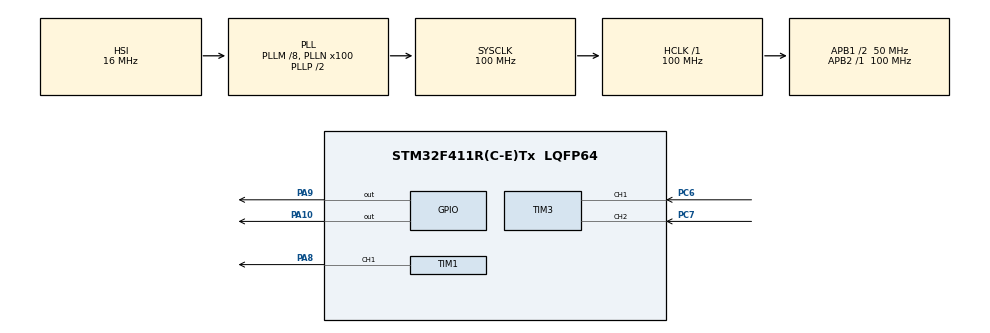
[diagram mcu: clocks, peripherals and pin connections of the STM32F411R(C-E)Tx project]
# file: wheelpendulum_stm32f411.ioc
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Mcu.Family=STM32F4
Mcu.Name=STM32F411R(C-E)Tx
Mcu.Package=LQFP64
NVIC.PriorityGroup=NVIC_PRIORITYGROUP_4
NVIC.TIM2_IRQn=true\:0\:0\:false\:false\:true\:true\:true
PA10.Signal=GPIO_Output
PA13.Mode=Serial_Wire
PA13.Signal=SYS_JTMS-SWDIO
PA14.Mode=Serial_Wire
PA14.Signal=SYS_JTCK-SWCLK
PA8.GPIO_Speed=GPIO_SPEED_FREQ_VERY_HIGH
PA8.Signal=S_TIM1_CH1
PA9.Signal=GPIO_Output
PC14-OSC32_IN.Mode=LSE-External-Clock-Source
PC14-OSC32_IN.Signal=RCC_OSC32_IN
PC15-OSC32_OUT.Mode=LSE-External-Clock-Source
PC15-OSC32_OUT.Signal=RCC_OSC32_OUT
PC6.GPIO_ModeDefaultPP=GPIO_MODE_AF_OD
PC6.GPIO_PuPd=GPIO_PULLUP
PC6.Signal=S_TIM3_CH1
PC7.GPIO_ModeDefaultPP=GPIO_MODE_AF_OD
PC7.GPIO_PuPd=GPIO_PULLUP
PC7.Signal=S_TIM3_CH2
PH0\ -\ OSC_IN.Mode=HSE-External-Oscillator
PH0\ -\ OSC_IN.Signal=RCC_OSC_IN
PH1\ -\ OSC_OUT.Mode=HSE-External-Oscillator
PH1\ -\ OSC_OUT.Signal=RCC_OSC_OUT
ProjectManager.HeapSize=0x200
ProjectManager.StackSize=0x400
ProjectManager.TargetToolchain=SW4STM32
RCC.48MHZClocksFreq_Value=50000000
RCC.AHBFreq_Value=100000000
RCC.APB1CLKDivider=RCC_HCLK_DIV2
RCC.APB1Freq_Value=50000000
RCC.APB1TimFreq_Value=100000000
RCC.APB2Freq_Value=100000000
RCC.APB2TimFreq_Value=100000000
RCC.CortexFreq_Value=100000000
RCC.HCLKFreq_Value=100000000
RCC.HSE_VALUE=16000000
RCC.HSI_VALUE=16000000
RCC.LSE_VALUE=32768
RCC.PLLM=8
RCC.PLLN=100
RCC.SYSCLKFreq_VALUE=100000000
RCC.SYSCLKSource=RCC_SYSCLKSOURCE_PLLCLK
RCC.VCOOutputFreq_Value=200000000
SH.S_TIM1_CH1.0=TIM1_CH1,PWM Generation1 CH1
SH.S_TIM3_CH1.0=TIM3_CH1,Encoder_Interface
SH.S_TIM3_CH2.0=TIM3_CH2,Encoder_Interface
TIM1.AutoReloadPreload=TIM_AUTORELOAD_PRELOAD_ENABLE
TIM1.Channel-PWM\ Generation1\ CH1=TIM_CHANNEL_1
TIM1.Period=99
TIM1.Prescaler=99
TIM2.AutoReloadPreload=TIM_AUTORELOAD_PRELOAD_ENABLE
TIM2.Period=999
TIM2.Prescaler=99
TIM3.EncoderMode=TIM_ENCODERMODE_TI12
VP_TIM2_VS_ClockSourceINT.Mode=Internal
board=custom

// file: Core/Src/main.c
/* USER CODE BEGIN Header */
/**
  ******************************************************************************
  * @file           : main.c
  * @brief          : Main program body
  ******************************************************************************
  * @attention
  *
  * <h2><center>&copy; Copyright (c) 2021 STMicroelectronics.
  * All rights reserved.</center></h2>
  *
  * This software component is licensed by ST under BSD 3-Clause license,
  * the "License"; You may not use this file except in compliance with the
  * License. You may obtain a copy of the License at:
  *                        opensource.org/licenses/BSD-3-Clause
  *
  ******************************************************************************
  */
/* USER CODE END Header */
#include "main.h"

TIM_HandleTypeDef htim1;
TIM_HandleTypeDef htim2;
TIM_HandleTypeDef htim3;

/* USER CODE BEGIN PV */
volatile short encoder_cnt=0;
uint16_t control_flag=0;
float u=0,e_theta=0,e_theta_k1=0;
float Kp=15,Kd=1;
uint16_t duty_pwm=0;
/* USER CODE END PV */

void SystemClock_Config(void);
static void MX_GPIO_Init(void);
static void MX_TIM1_Init(void);
static void MX_TIM3_Init(void);
static void MX_TIM2_Init(void);

int main(void)
{

  /* MCU Configuration--------------------------------------------------------*/

  /* Reset of all peripherals, Initializes the Flash interface and the Systick. */
  HAL_Init();

  /* Configure the system clock */
  SystemClock_Config();

  /* Initialize all configured peripherals */
  MX_GPIO_Init();
  MX_TIM1_Init();
  MX_TIM3_Init();
  MX_TIM2_Init();
  /* USER CODE BEGIN 2 */
  HAL_TIM_Encoder_Start(&htim3,TIM_CHANNEL_1|TIM_CHANNEL_2);
  HAL_TIM_PWM_Start(&htim1, TIM_CHANNEL_1);
  HAL_TIM_Base_Start_IT(&htim2);
  HAL_GPIO_WritePin(GPIOA,GPIO_PIN_9,1);
  HAL_GPIO_WritePin(GPIOA,GPIO_PIN_10,1);

  /* USER CODE END 2 */

  /* Infinite loop */
  while (1)
  {

    /* USER CODE BEGIN 3 */
  	  encoder_cnt = __HAL_TIM_GET_COUNTER(&htim3);
if((encoder_cnt>1600)&&(encoder_cnt<2400))
	{
	  if(control_flag==1)
	  {  			  control_flag=0;

		  e_theta_k1=e_theta;
		  e_theta= 2044 -encoder_cnt;
		  u = Kp*e_theta + Kd*(e_theta-e_theta_k1)/0.001;
		  if(u>98)
			  u=98;
		  if(u<-98)
			  u=-98;
		  if(u>0)
		  {duty_pwm=u;
		  HAL_GPIO_WritePin(GPIOA,GPIO_PIN_9,1);
		  }
		  else
		  {duty_pwm=-u;
		  HAL_GPIO_WritePin(GPIOA,GPIO_PIN_9,0);
		  }
//		  if(e_theta>0)
//			  HAL_GPIO_WritePin(GPIOA,GPIO_PIN_9,1);
//		  else
//			  HAL_GPIO_WritePin(GPIOA,GPIO_PIN_9,0);
		if(duty_pwm>98)
			  duty_pwm=98;
		if(duty_pwm<0)
			duty_pwm=0;

		  __HAL_TIM_SET_COMPARE(&htim1,TIM_CHANNEL_1,duty_pwm);

	  }
	}
  }
  /* USER CODE END 3 */
}

void SystemClock_Config(void)
{
  RCC_OscInitTypeDef RCC_OscInitStruct = {0};
  RCC_ClkInitTypeDef RCC_ClkInitStruct = {0};

  /** Configure the main internal regulator output voltage
  */
  __HAL_RCC_PWR_CLK_ENABLE();
  __HAL_PWR_VOLTAGESCALING_CONFIG(PWR_REGULATOR_VOLTAGE_SCALE1);
  /** Initializes the RCC Oscillators according to the specified parameters
  * in the RCC_OscInitTypeDef structure.
  */
  RCC_OscInitStruct.OscillatorType = RCC_OSCILLATORTYPE_HSI;
  RCC_OscInitStruct.HSIState = RCC_HSI_ON;
  RCC_OscInitStruct.HSICalibrationValue = RCC_HSICALIBRATION_DEFAULT;
  RCC_OscInitStruct.PLL.PLLState = RCC_PLL_ON;
  RCC_OscInitStruct.PLL.PLLSource = RCC_PLLSOURCE_HSI;
  RCC_OscInitStruct.PLL.PLLM = 8;
  RCC_OscInitStruct.PLL.PLLN = 100;
  RCC_OscInitStruct.PLL.PLLP = RCC_PLLP_DIV2;
  RCC_OscInitStruct.PLL.PLLQ = 4;
  if (HAL_RCC_OscConfig(&RCC_OscInitStruct) != HAL_OK)
  {
    Error_Handler();
  }
  /** Initializes the CPU, AHB and APB buses clocks
  */
  RCC_ClkInitStruct.ClockType = RCC_CLOCKTYPE_HCLK|RCC_CLOCKTYPE_SYSCLK
                              |RCC_CLOCKTYPE_PCLK1|RCC_CLOCKTYPE_PCLK2;
  RCC_ClkInitStruct.SYSCLKSource = RCC_SYSCLKSOURCE_PLLCLK;
  RCC_ClkInitStruct.AHBCLKDivider = RCC_SYSCLK_DIV1;
  RCC_ClkInitStruct.APB1CLKDivider = RCC_HCLK_DIV2;
  RCC_ClkInitStruct.APB2CLKDivider = RCC_HCLK_DIV1;

  if (HAL_RCC_ClockConfig(&RCC_ClkInitStruct, FLASH_LATENCY_3) != HAL_OK)
  {
    Error_Handler();
  }
}

static void MX_TIM1_Init(void)
{

  TIM_MasterConfigTypeDef sMasterConfig = {0};
  TIM_OC_InitTypeDef sConfigOC = {0};
  TIM_BreakDeadTimeConfigTypeDef sBreakDeadTimeConfig = {0};

  htim1.Instance = TIM1;
  htim1.Init.Prescaler = 99;
  htim1.Init.CounterMode = TIM_COUNTERMODE_UP;
  htim1.Init.Period = 99;
  htim1.Init.ClockDivision = TIM_CLOCKDIVISION_DIV1;
  htim1.Init.RepetitionCounter = 0;
  htim1.Init.AutoReloadPreload = TIM_AUTORELOAD_PRELOAD_ENABLE;
  if (HAL_TIM_PWM_Init(&htim1) != HAL_OK)
  {
    Error_Handler();
  }
  sMasterConfig.MasterOutputTrigger = TIM_TRGO_RESET;
  sMasterConfig.MasterSlaveMode = TIM_MASTERSLAVEMODE_DISABLE;
  if (HAL_TIMEx_MasterConfigSynchronization(&htim1, &sMasterConfig) != HAL_OK)
  {
    Error_Handler();
  }
  sConfigOC.OCMode = TIM_OCMODE_PWM1;
  sConfigOC.Pulse = 0;
  sConfigOC.OCPolarity = TIM_OCPOLARITY_HIGH;
  sConfigOC.OCNPolarity = TIM_OCNPOLARITY_HIGH;
  sConfigOC.OCFastMode = TIM_OCFAST_DISABLE;
  sConfigOC.OCIdleState = TIM_OCIDLESTATE_RESET;
  sConfigOC.OCNIdleState = TIM_OCNIDLESTATE_RESET;
  if (HAL_TIM_PWM_ConfigChannel(&htim1, &sConfigOC, TIM_CHANNEL_1) != HAL_OK)
  {
    Error_Handler();
  }
  sBreakDeadTimeConfig.OffStateRunMode = TIM_OSSR_DISABLE;
  sBreakDeadTimeConfig.OffStateIDLEMode = TIM_OSSI_DISABLE;
  sBreakDeadTimeConfig.LockLevel = TIM_LOCKLEVEL_OFF;
  sBreakDeadTimeConfig.DeadTime = 0;
  sBreakDeadTimeConfig.BreakState = TIM_BREAK_DISABLE;
  sBreakDeadTimeConfig.BreakPolarity = TIM_BREAKPOLARITY_HIGH;
  sBreakDeadTimeConfig.AutomaticOutput = TIM_AUTOMATICOUTPUT_DISABLE;
  if (HAL_TIMEx_ConfigBreakDeadTime(&htim1, &sBreakDeadTimeConfig) != HAL_OK)
  {
    Error_Handler();
  }
  HAL_TIM_MspPostInit(&htim1);

}

static void MX_TIM2_Init(void)
{

  TIM_ClockConfigTypeDef sClockSourceConfig = {0};
  TIM_MasterConfigTypeDef sMasterConfig = {0};

  htim2.Instance = TIM2;
  htim2.Init.Prescaler = 99;
  htim2.Init.CounterMode = TIM_COUNTERMODE_UP;
  htim2.Init.Period = 999;
  htim2.Init.ClockDivision = TIM_CLOCKDIVISION_DIV1;
  htim2.Init.AutoReloadPreload = TIM_AUTORELOAD_PRELOAD_ENABLE;
  if (HAL_TIM_Base_Init(&htim2) != HAL_OK)
  {
    Error_Handler();
  }
  sClockSourceConfig.ClockSource = TIM_CLOCKSOURCE_INTERNAL;
  if (HAL_TIM_ConfigClockSource(&htim2, &sClockSourceConfig) != HAL_OK)
  {
    Error_Handler();
  }
  sMasterConfig.MasterOutputTrigger = TIM_TRGO_RESET;
  sMasterConfig.MasterSlaveMode = TIM_MASTERSLAVEMODE_DISABLE;
  if (HAL_TIMEx_MasterConfigSynchronization(&htim2, &sMasterConfig) != HAL_OK)
  {
    Error_Handler();
  }

}

static void MX_TIM3_Init(void)
{

  TIM_Encoder_InitTypeDef sConfig = {0};
  TIM_MasterConfigTypeDef sMasterConfig = {0};

  htim3.Instance = TIM3;
  htim3.Init.Prescaler = 0;
  htim3.Init.CounterMode = TIM_COUNTERMODE_UP;
  htim3.Init.Period = 65535;
  htim3.Init.ClockDivision = TIM_CLOCKDIVISION_DIV1;
  htim3.Init.AutoReloadPreload = TIM_AUTORELOAD_PRELOAD_DISABLE;
  sConfig.EncoderMode = TIM_ENCODERMODE_TI12;
  sConfig.IC1Polarity = TIM_ICPOLARITY_RISING;
  sConfig.IC1Selection = TIM_ICSELECTION_DIRECTTI;
  sConfig.IC1Prescaler = TIM_ICPSC_DIV1;
  sConfig.IC1Filter = 0;
  sConfig.IC2Polarity = TIM_ICPOLARITY_RISING;
  sConfig.IC2Selection = TIM_ICSELECTION_DIRECTTI;
  sConfig.IC2Prescaler = TIM_ICPSC_DIV1;
  sConfig.IC2Filter = 0;
  if (HAL_TIM_Encoder_Init(&htim3, &sConfig) != HAL_OK)
  {
    Error_Handler();
  }
  sMasterConfig.MasterOutputTrigger = TIM_TRGO_RESET;
  sMasterConfig.MasterSlaveMode = TIM_MASTERSLAVEMODE_DISABLE;
  if (HAL_TIMEx_MasterConfigSynchronization(&htim3, &sMasterConfig) != HAL_OK)
  {
    Error_Handler();
  }

}

static void MX_GPIO_Init(void)
{
  GPIO_InitTypeDef GPIO_InitStruct = {0};

  /* GPIO Ports Clock Enable */
  __HAL_RCC_GPIOC_CLK_ENABLE();
  __HAL_RCC_GPIOH_CLK_ENABLE();
  __HAL_RCC_GPIOA_CLK_ENABLE();

  /*Configure GPIO pin Output Level */
  HAL_GPIO_WritePin(GPIOA, GPIO_PIN_9|GPIO_PIN_10, GPIO_PIN_RESET);

  /*Configure GPIO pins : PA9 PA10 */
  GPIO_InitStruct.Pin = GPIO_PIN_9|GPIO_PIN_10;
  GPIO_InitStruct.Mode = GPIO_MODE_OUTPUT_PP;
  GPIO_InitStruct.Pull = GPIO_NOPULL;
  GPIO_InitStruct.Speed = GPIO_SPEED_FREQ_LOW;
  HAL_GPIO_Init(GPIOA, &GPIO_InitStruct);

}

void Error_Handler(void)
{
  __disable_irq();
  while (1)
  {
  }
}

/************************ (C) COPYRIGHT STMicroelectronics *****END OF FILE****/
